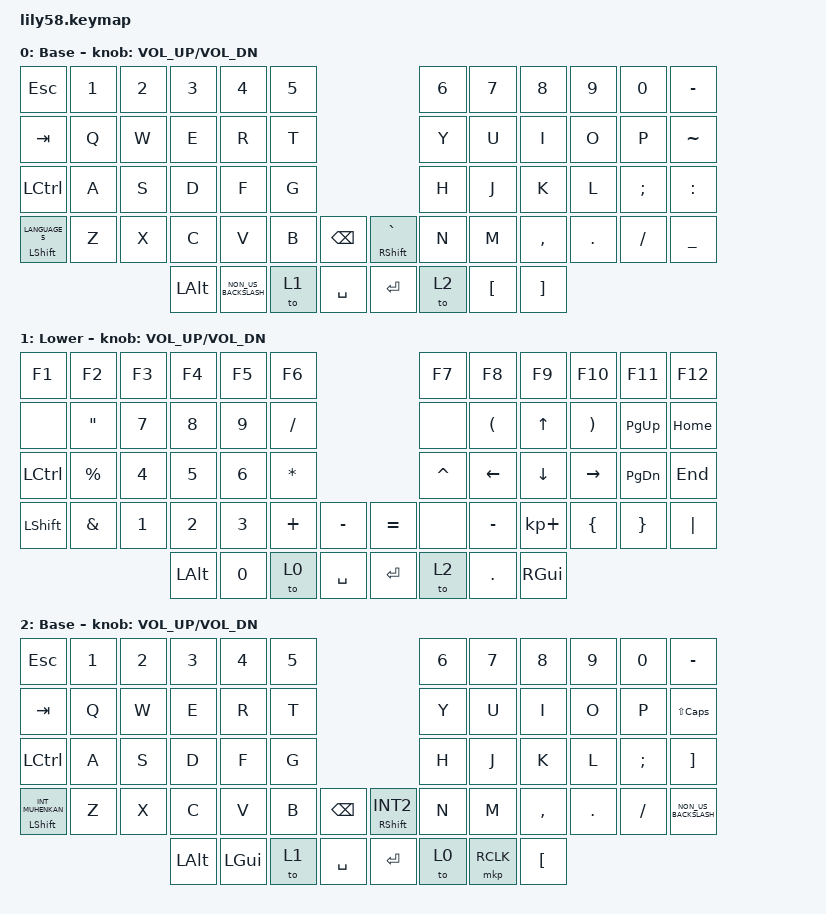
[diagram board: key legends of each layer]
/*
 * Copyright (c) 2020 The ZMK Contributors
 *
 * SPDX-License-Identifier: MIT
 */

#include <behaviors.dtsi>
#include <dt-bindings/zmk/keys.h>
#include <dt-bindings/zmk/mouse.h>

/ {
    keymap {
        compatible = "zmk,keymap";

        default_layer {
            // ------------------------------------------------------------------------------------------------------------
            // |  ESC  |  1  |  2  |  3   |  4   |  5   |                   |  6   |  7    |  8    |  9   |   0   |   `   |
            // |  TAB  |  Q  |  W  |  E   |  R   |  T   |                   |  Y   |  U    |  I    |  O   |   P   |   -   |
            // |  CTRL |  A  |  S  |  D   |  F   |  G   |                   |  H   |  J    |  K    |  L   |   ;   |   '   |
            // | SHIFT |  Z  |  X  |  C   |  V   |  B   |   "["  |  |  "]"  |  N   |  M    |  ,    |  .   |   /   | SHIFT |
            //                     | ALT  | GUI  | LOWER|  SPACE |  | ENTER | RAISE| BSPC  | GUI   |

            display-name = "Base";
            bindings = <
&kp ESC               &kp N1  &kp N2  &kp N3    &kp N4                &kp N5                                          &kp N6  &kp N7            &kp N8             &kp N9   &kp N0    &kp MINUS
&kp TAB               &kp Q   &kp W   &kp E     &kp R                 &kp T                                           &kp Y   &kp U             &kp I              &kp O    &kp P     &kp TILDE
&kp LCTRL             &kp A   &kp S   &kp D     &kp F                 &kp G                                           &kp H   &kp J             &kp K              &kp L    &kp SEMI  &kp COLON
&mt LSHFT LANGUAGE_5  &kp Z   &kp X   &kp C     &kp V                 &kp B   &kp BACKSPACE    &mt RIGHT_SHIFT GRAVE  &kp N   &kp M             &kp COMMA          &kp DOT  &kp FSLH  &kp UNDERSCORE
                                      &kp LALT  &kp NON_US_BACKSLASH  &to 1   &kp SPACE        &kp RET                &to 2   &kp LEFT_BRACKET  &kp RIGHT_BRACKET
            >;

            sensor-bindings = <&inc_dec_kp C_VOL_UP C_VOL_DN>;
        };

        lower_layer {
            // ------------------------------------------------------------------------------------------------------------
            // | BTCLR | BT1 | BT2 |  BT3 |  BT4 |  BT5 |                   |      |       |       |      |       |       |
            // |  F1   |  F2 |  F3 |  F4  |  F5  |  F6  |                   |  F7  |  F8   |  F9   |  F10 |  F11  |  F12  |
            // |   `   |  !  |  @  |  #   |  $   |  %   |                   |  ^   |  &    |  *    |  (   |   )   |   ~   |
            // |       |     |     |      |      |      |        |  |       |      |  _    |  +    |  {   |   }   |  "|"  |
            //                     |      |      |      |        |  |       |      |       |       |

            display-name = "Lower";
            bindings = <
&kp F1            &kp F2             &kp F3        &kp F4        &kp F5        &kp F6                                &kp F7     &kp F8                &kp F9         &kp F10                &kp F11        &kp F12
&none             &kp DOUBLE_QUOTES  &kp NUMBER_7  &kp N8        &kp NUMBER_9  &kp SLASH                             &none      &kp LEFT_PARENTHESIS  &kp UP_ARROW   &kp RIGHT_PARENTHESIS  &kp PAGE_UP    &kp HOME
&kp LEFT_CONTROL  &kp PERCENT        &kp N4        &kp NUMBER_5  &kp NUMBER_6  &kp ASTERISK                          &kp CARET  &kp LEFT              &kp DOWN       &kp RIGHT              &kp PAGE_DOWN  &kp END
&kp LEFT_SHIFT    &kp AMPERSAND      &kp NUMBER_1  &kp NUMBER_2  &kp N3        &kp PLUS      &kp MINUS    &kp EQUAL  &none      &kp MINUS             &kp KP_PLUS    &kp LBRC               &kp RBRC       &kp PIPE
                                                   &kp LEFT_ALT  &kp N0        &to 0         &kp SPACE    &kp ENTER  &to 2      &kp PERIOD            &kp RIGHT_GUI
            >;

            sensor-bindings = <&inc_dec_kp C_VOL_UP C_VOL_DN>;
        };

        rqise_layer {
            display-name = "Base";
            bindings = <
&kp ESC                 &kp N1  &kp N2  &kp N3    &kp N4        &kp N5                                         &kp N6  &kp N7     &kp N8            &kp N9   &kp N0    &kp MINUS
&kp TAB                 &kp Q   &kp W   &kp E     &kp R         &kp T                                          &kp Y   &kp U      &kp I             &kp O    &kp P     &kp LS(CLCK)
&kp LCTRL               &kp A   &kp S   &kp D     &kp F         &kp G                                          &kp H   &kp J      &kp K             &kp L    &kp SEMI  &kp RIGHT_BRACKET
&mt LSHFT INT_MUHENKAN  &kp Z   &kp X   &kp C     &kp V         &kp B   &kp BACKSPACE    &mt RIGHT_SHIFT INT2  &kp N   &kp M      &kp COMMA         &kp DOT  &kp FSLH  &kp NON_US_BACKSLASH
                                        &kp LALT  &kp LEFT_GUI  &to 1   &kp SPACE        &kp RET               &to 0   &mkp RCLK  &kp LEFT_BRACKET
            >;

            sensor-bindings = <&inc_dec_kp C_VOL_UP C_VOL_DN>;
        };
    };
};
